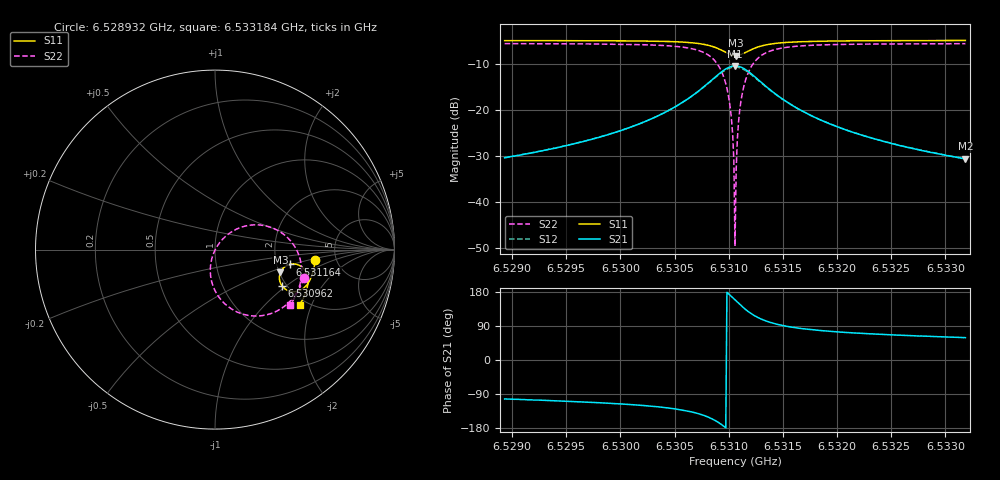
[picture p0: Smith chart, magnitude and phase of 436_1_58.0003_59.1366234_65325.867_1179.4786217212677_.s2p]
#  HZ  S  RI  R  50.00
! Rohde & Schwarz Vector Network Analyzer
! Rohde-Schwarz,ZNB20-2Port,1311601062101988,3.16
! Created: UTC 3/21/2024, 1:09:51 AM
! freq[Hz]  re:S11  im:S11  re:S21  im:S21  re:S12  im:S12  re:S22  im:S22
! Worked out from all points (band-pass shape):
!   401 points, 6.528932 GHz to 6.533184 GHz, reference 50 ohm
!   highest |S21| = -10.49 dB at 6.531058 GHz (marker M1); lowest = -30.6 dB at 6.533184 GHz (marker M2)
!   |S21| within 3 dB of the highest: 6.530847 GHz to 6.531272 GHz (424.4 kHz wide, 0.0065 % of centre)
!   lowest |S11| = -8.3 dB at 6.531069 GHz (marker M3), VSWR 2.26, Z = 101 - j30.3 ohm
!   |S11| at or under -10 dB: nowhere
!   |S22| runs from -49.5 to -5.7 dB; largest |S21 - S12| = 0.011
!   S11 on the Smith chart (normalised r, x): 6.528932 GHz: 3.46, -0.56; 6.530962 GHz: 1.89, -0.93; 6.531164 GHz: 2.35, -0.47; 6.533184 GHz: 1.82, -1.65
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6.5289322e9  0.5583 -0.0558  -0.00674 -0.0295  -0.00721 -0.0296  0.4954 -0.1588
6.5296444e9  0.5483 -0.1147  -0.0159 -0.042  -0.0168 -0.0418  0.4657 -0.2245
6.5303566e9  0.5203 -0.1843  -0.0486 -0.0723  -0.0504 -0.071  0.3866 -0.3162
6.5307817e9  0.4511 -0.2335  -0.1533 -0.0981  -0.1556 -0.092  0.185 -0.3663
6.530888e9  0.4077 -0.2287  -0.2211 -0.0728  -0.2205 -0.0638  0.0691 -0.3143
6.5309624e9  0.3735 -0.2025  -0.2713 -0.0162  -0.2661 -0.00665  -0.00774 -0.2111
6.5309943e9  0.3632 -0.1829  -0.2848 0.0213  -0.2773 0.0295  -0.0245 -0.1465
6.5310156e9  0.3594 -0.1675  -0.2883 0.0497  -0.2794 0.0568  -0.0257 -0.099
6.5310262e9  0.3587 -0.1595  -0.288 0.0645  -0.2786 0.0707  -0.0229 -0.0745
6.5310369e9  0.3589 -0.1514  -0.2865 0.0793  -0.2764 0.0848  -0.0178 -0.0503
6.5310475e9  0.3599 -0.1432  -0.2831 0.0941  -0.2729 0.0987  -0.0102 -0.0265
6.5310581e9  0.3617 -0.1351  -0.2784 0.1089  -0.2681 0.1122  -0.000125 -0.00334
6.5310687e9  0.3645 -0.1273  -0.2721 0.1228  -0.2619 0.1253  0.012 0.0186
6.5310794e9  0.3683 -0.1198  -0.2648 0.1359  -0.2546 0.1376  0.0263 0.0393
6.53109e9  0.3725 -0.1127  -0.2562 0.1481  -0.2461 0.1491  0.0427 0.0582
6.5311113e9  0.3831 -0.1005  -0.2359 0.1697  -0.2266 0.169  0.0792 0.0903
6.5311644e9  0.4154 -0.0826  -0.1771 0.2015  -0.1707 0.1987  0.1815 0.1338
6.5312388e9  0.4573 -0.0831  -0.1034 0.2041  -0.1001 0.2012  0.3059 0.1256
6.5313451e9  0.4935 -0.1052  -0.0397 0.1741  -0.0383 0.1725  0.4099 0.0611
6.5317703e9  0.5184 -0.1845  0.0152 0.0841  0.016 0.0839  0.483 -0.1279
6.5324825e9  0.4986 -0.2561  0.0174 0.0404  0.018 0.0401  0.4552 -0.2445
6.533184e9  0.4714 -0.308  0.0152 0.0253  0.0157 0.025  0.4204 -0.3059
